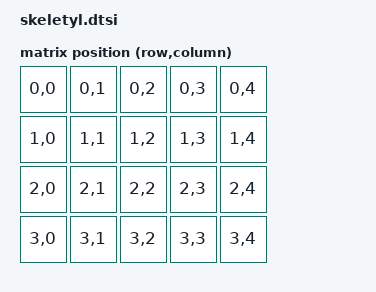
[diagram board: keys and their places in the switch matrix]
#include <dt-bindings/zmk/matrix_transform.h>

/ {
    chosen {
        zmk,kscan = &kscan0;
        zmk,matrix_transform = &default_transform;
    };

    default_transform: keymap_transform_0 {
        compatible = "zmk,matrix-transform";
        columns = <5>;
        rows = <4>;
// | C1 | C2 | C3 |   |   |                 |   |   | C4 | C5 |
// | R1 | R2 | R3 |   |   |                 |   |   | R1 | R2 |
// | R3 | R4 |    |   |   |                 |   |   | R3 | R4 |
//                           |   |   |   |   |   |   |
        map = <
RC(0,0) RC(0,1) RC(0,2)                         RC(0,3) RC(0,4)
RC(1,0) RC(1,1) RC(1,2)                         RC(1,3) RC(1,4)
RC(2,0) RC(2,1) RC(2,2)                         RC(2,3) RC(2,4)
                        RC(3,0) RC(3,1) RC(3,2) RC(3,3) RC(3,4)
        >;
    };

    physical_layouts {
        compatible = "zmk,physical-layout";
        layout_0 {
            compatible = "zmk,physical-layout-key-bounce";
            columns = <5>;
            rows = <4>;
        };
    };

    kscan0: kscan {
        compatible = "zmk,kscan-gpio-matrix";
        diode-direction = "col2row"; // use row2col if using amoeba pcb
        wakeup-source;
    };
};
